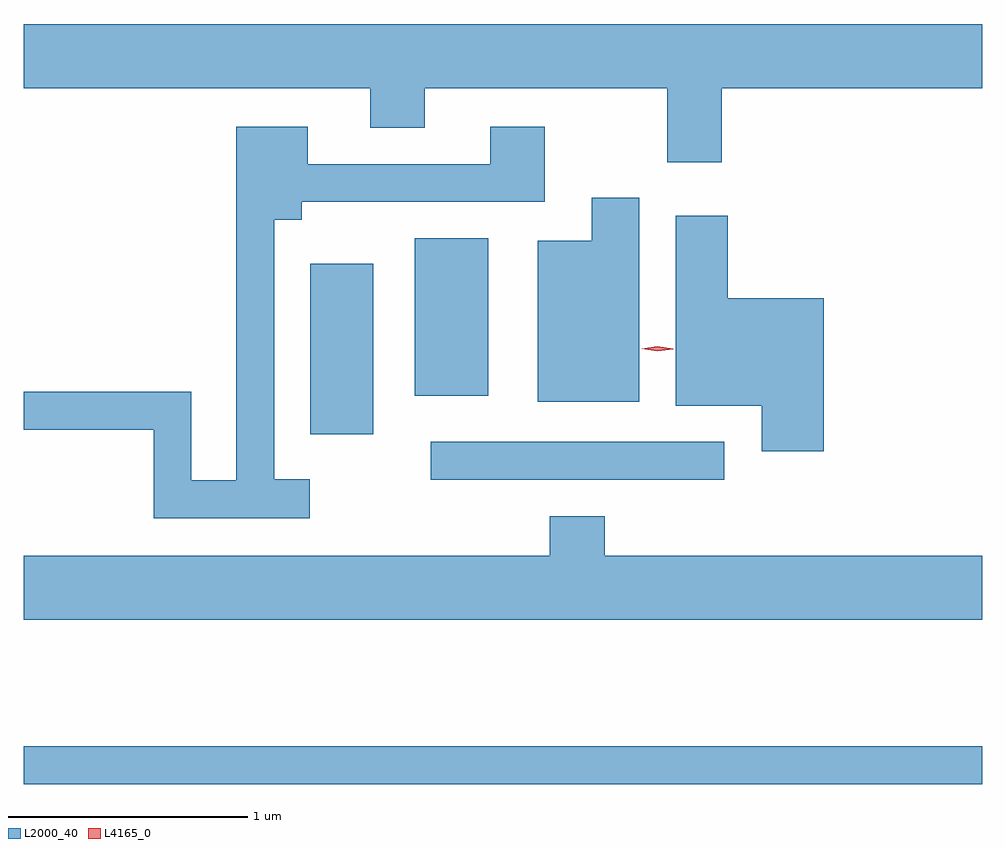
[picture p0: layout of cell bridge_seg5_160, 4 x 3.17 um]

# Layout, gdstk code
import gdstk
lib = gdstk.Library(unit=1e-6, precision=1e-09)
def R(c, l, rs):  # rectangles x0, y0, x1, y1
    for r in rs: c.add(gdstk.rectangle(r[:2], r[2:], *l))
def P(c, l, *ps):  # polygons
    for p in ps: c.add(gdstk.Polygon(p, *l))
L2000_40 = (2000, 40)
L4165_0 = (4165, 0)

bridge_seg5_160 = lib.new_cell('bridge_seg5_160')
R(bridge_seg5_160, L2000_40, [(1189.725,1436.131,1193.725,1436.289), (1191.423,1437.401,1192.648,1437.559), (1190.921,1437.591,1191.184,1438.304), (1191.356,1437.751,1191.664,1438.409)])
P(bridge_seg5_160, L2000_40, [(1192.639,1439.036),(1193.725,1439.036),(1193.725,1439.304),(1189.725,1439.304),(1189.725,1439.036),(1191.171,1439.036),(1191.171,1438.871),(1191.399,1438.871),(1191.399,1439.036),(1192.411,1439.036),(1192.411,1438.726),(1192.639,1438.726)],
  [(1190.918,1437.404),(1190.769,1437.404),(1190.769,1438.486),(1190.884,1438.486),(1190.884,1438.561),(1191.899,1438.561),(1191.899,1438.874),(1191.671,1438.874),(1191.671,1438.719),(1190.909,1438.719),(1190.909,1438.874),(1190.611,1438.874),(1190.611,1437.399),(1190.424,1437.399),(1190.424,1437.769),(1189.725,1437.769),(1189.725,1437.611),(1190.266,1437.611),(1190.266,1437.241),(1190.918,1437.241)],
  [(1192.294,1438.579),(1192.096,1438.579),(1192.096,1438.399),(1191.871,1438.399),(1191.871,1437.726),(1192.294,1437.726)],
  [(1193.064,1438.159),(1192.664,1438.159),(1192.664,1438.504),(1192.446,1438.504),(1192.446,1437.711),(1192.806,1437.711),(1192.806,1437.521),(1193.064,1437.521)],
  [(1193.725,1437.084),(1192.149,1437.084),(1192.149,1437.249),(1191.921,1437.249),(1191.921,1437.084),(1189.725,1437.084),(1189.725,1436.816),(1193.725,1436.816)])
P(bridge_seg5_160, L4165_0, [(1192.37,1437.938),(1192.304,1437.948),(1192.303,1437.949),(1192.304,1437.949),(1192.37,1437.958),(1192.436,1437.948),(1192.436,1437.948),(1192.436,1437.947)])

lib.write_gds('bridge_seg5_160.gds')
